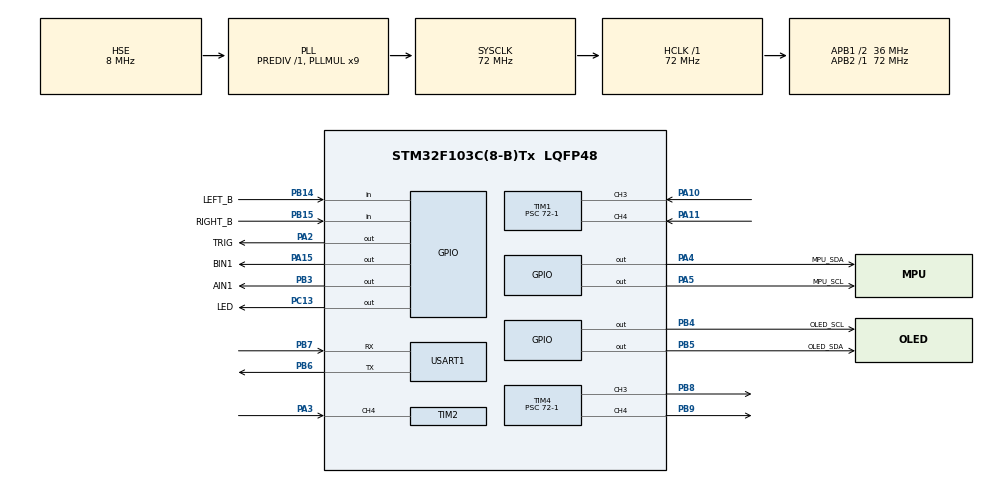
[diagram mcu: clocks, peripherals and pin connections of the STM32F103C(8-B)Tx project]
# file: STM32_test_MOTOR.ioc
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Dma.Request0=USART1_RX
Dma.USART1_RX.0.Direction=DMA_PERIPH_TO_MEMORY
Dma.USART1_RX.0.Instance=DMA1_Channel5
Dma.USART1_RX.0.MemDataAlignment=DMA_MDATAALIGN_BYTE
Dma.USART1_RX.0.MemInc=DMA_MINC_ENABLE
Dma.USART1_RX.0.Mode=DMA_NORMAL
Dma.USART1_RX.0.PeriphDataAlignment=DMA_PDATAALIGN_BYTE
Dma.USART1_RX.0.PeriphInc=DMA_PINC_DISABLE
Dma.USART1_RX.0.Priority=DMA_PRIORITY_MEDIUM
Mcu.Family=STM32F1
Mcu.Name=STM32F103C(8-B)Tx
Mcu.Package=LQFP48
NVIC.DMA1_Channel5_IRQn=true\:0\:0\:false\:false\:true\:false\:true\:true
NVIC.PriorityGroup=NVIC_PRIORITYGROUP_2
NVIC.TIM1_CC_IRQn=true\:0\:0\:false\:false\:true\:true\:true\:true
NVIC.TIM1_UP_IRQn=true\:1\:0\:true\:false\:true\:true\:true\:true
NVIC.USART1_IRQn=true\:0\:0\:false\:false\:true\:true\:true\:true
PA10.Signal=S_TIM1_CH3
PA11.Signal=S_TIM1_CH4
PA13.Mode=Serial_Wire
PA13.Signal=SYS_JTMS-SWDIO
PA14.Mode=Serial_Wire
PA14.Signal=SYS_JTCK-SWCLK
PA15.GPIO_Label=BIN1
PA15.GPIO_Speed=GPIO_SPEED_FREQ_MEDIUM
PA15.Signal=GPIO_Output
PA2.GPIO_Label=TRIG
PA2.GPIO_Speed=GPIO_SPEED_FREQ_MEDIUM
PA2.Signal=GPIO_Output
PA3.Signal=S_TIM2_CH4
PA4.GPIO_Label=MPU_SDA
PA4.GPIO_ModeDefaultOutputPP=GPIO_MODE_OUTPUT_OD
PA4.GPIO_PuPd=GPIO_PULLUP
PA4.GPIO_Speed=GPIO_SPEED_FREQ_MEDIUM
PA4.Signal=GPIO_Output
PA5.GPIO_Label=MPU_SCL
PA5.GPIO_ModeDefaultOutputPP=GPIO_MODE_OUTPUT_OD
PA5.GPIO_PuPd=GPIO_PULLUP
PA5.GPIO_Speed=GPIO_SPEED_FREQ_MEDIUM
PA5.Signal=GPIO_Output
PB14.GPIO_Label=LEFT_B
PB14.Signal=GPIO_Input
PB15.GPIO_Label=RIGHT_B
PB15.Signal=GPIO_Input
PB3.GPIO_Label=AIN1
PB3.GPIO_Speed=GPIO_SPEED_FREQ_MEDIUM
PB3.Signal=GPIO_Output
PB4.GPIO_Label=OLED_SCL
PB4.GPIO_ModeDefaultOutputPP=GPIO_MODE_OUTPUT_OD
PB4.GPIO_PuPd=GPIO_PULLUP
PB4.GPIO_Speed=GPIO_SPEED_FREQ_MEDIUM
PB4.Signal=GPIO_Output
PB5.GPIO_Label=OLED_SDA
PB5.GPIO_ModeDefaultOutputPP=GPIO_MODE_OUTPUT_OD
PB5.GPIO_PuPd=GPIO_PULLUP
PB5.GPIO_Speed=GPIO_SPEED_FREQ_MEDIUM
PB5.Signal=GPIO_Output
PB6.Mode=Asynchronous
PB6.Signal=USART1_TX
PB7.Mode=Asynchronous
PB7.Signal=USART1_RX
PB8.Signal=S_TIM4_CH3
PB9.GPIO_Speed=GPIO_SPEED_FREQ_MEDIUM
PB9.Signal=S_TIM4_CH4
PC13-TAMPER-RTC.GPIO_Label=LED
PC13-TAMPER-RTC.GPIO_Speed=GPIO_SPEED_FREQ_MEDIUM
PC13-TAMPER-RTC.PinState=GPIO_PIN_SET
PC13-TAMPER-RTC.Signal=GPIO_Output
PD0-OSC_IN.Mode=HSE-External-Oscillator
PD0-OSC_IN.Signal=RCC_OSC_IN
PD1-OSC_OUT.Mode=HSE-External-Oscillator
PD1-OSC_OUT.Signal=RCC_OSC_OUT
ProjectManager.HeapSize=0x200
ProjectManager.StackSize=0x400
ProjectManager.TargetToolchain=MDK-ARM V5.27
RCC.AHBFreq_Value=72000000
RCC.APB1CLKDivider=RCC_HCLK_DIV2
RCC.APB1Freq_Value=36000000
RCC.APB1TimFreq_Value=72000000
RCC.APB2Freq_Value=72000000
RCC.APB2TimFreq_Value=72000000
RCC.HCLKFreq_Value=72000000
RCC.PLLMUL=RCC_PLL_MUL9
RCC.PLLSourceVirtual=RCC_PLLSOURCE_HSE
RCC.SYSCLKFreq_VALUE=72000000
RCC.SYSCLKSource=RCC_SYSCLKSOURCE_PLLCLK
RCC.USBFreq_Value=72000000
SH.S_TIM1_CH3.0=TIM1_CH3,Input_Capture3_from_TI3
SH.S_TIM1_CH4.0=TIM1_CH4,Input_Capture4_from_TI4
SH.S_TIM2_CH4.0=TIM2_CH4,Input_Capture4_from_TI4
SH.S_TIM4_CH3.0=TIM4_CH3,PWM Generation3 CH3
SH.S_TIM4_CH4.0=TIM4_CH4,PWM Generation4 CH4
TIM1.Channel-Input_Capture3_from_TI3=TIM_CHANNEL_3
TIM1.Channel-Input_Capture4_from_TI4=TIM_CHANNEL_4
TIM1.Period=50000-1
TIM1.Prescaler=72-1
TIM2.Channel-Input_Capture4_from_TI4=TIM_CHANNEL_4
TIM4.Channel-PWM\ Generation3\ CH3=TIM_CHANNEL_3
TIM4.Channel-PWM\ Generation4\ CH4=TIM_CHANNEL_4
TIM4.Period=1000-1
TIM4.Prescaler=72-1
TIM4.Pulse-PWM\ Generation3\ CH3=0
TIM4.Pulse-PWM\ Generation4\ CH4=0
USART1.VirtualMode=VM_ASYNC
VP_TIM1_VS_ClockSourceINT.Mode=Internal
VP_TIM2_VS_ClockSourceINT.Mode=Internal
board=custom

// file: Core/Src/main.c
/* USER CODE BEGIN Header */
/**
  ******************************************************************************
  * @file           : main.c
  * @brief          : Main program body
  ******************************************************************************
  * @attention
  *
  * Copyright (c) 2022 STMicroelectronics.
  * All rights reserved.
  *
  * This software is licensed under terms that can be found in the LICENSE file
  * in the root directory of this software component.
  * If no LICENSE file comes with this software, it is provided AS-IS.
  *
  ******************************************************************************
  */
/* USER CODE END Header */
#include "main.h"
#include "dma.h"
#include "tim.h"
#include "usart.h"
#include "gpio.h"

/* USER CODE BEGIN Includes */
#include "Motor.h"
#include "PID.h"
#include "OLED_IIC.h"
#include "stdio.h"
#include "string.h"
#include "math.h"
#include "IIC.h"
#include "mpu6050.h"
#include "inv_mpu.h"
#include "inv_mpu_dmp_motion_driver.h"

#define Rx_MAX 255
#define PI 3.141592
#define MIDANGLE 4.00
#define AHEAD 'F'
#define LEFT  'L'
#define RIGHT 'R'
#define BACK  'B'

/* USER CODE END Includes */

/* USER CODE BEGIN PTD */
typedef struct
{
	float speed_left;
	float speed_right;
	float Roll;
	float Yaw;
}Motor_Struct;

Motor_Struct nowa_state;
Motor_Struct goal_state;

extern PID_SPEED PID_LeftWheel;  // 左轮速度环
extern PID_SPEED PID_RightWheel; // 右轮速度环
extern PID_BALANCE PID_Balance;

int count_left = 0,count_right = 0;      // 左右轮编码器计数值
float pos_left = 0.0,pos_right = 0;
float pitch,roll,yaw; 		    //欧拉角
extern unsigned char Rx_Buffer[Rx_MAX];  // 缓存区
extern int data_length;                  // 缓存区读取到的数据长度
extern char update_flag;                 // 更新标志位，在缓存区数据更新时有效

// 重定向函数，便于使用printf( )函数，注意需要勾选MicroLIB选项
int fputc(int ch, FILE *f)
{
  HAL_UART_Transmit(&huart1, (uint8_t *)&ch, 1, 0xffff);
  return ch;
}

// 定时器定时10ms，每10ms执行一次该函数，执行内容包括：
// 测速，PID闭环控制，并每秒钟显示一次速度
void HAL_TIM_PeriodElapsedCallback(TIM_HandleTypeDef *htim)
{
////	HAL_GPIO_TogglePin(LED_GPIO_Port,LED_Pin);
//	static int i = 0;
//	i++;
//	if(htim == &htim1)
//	{
////		mpu_dmp_get_data(&pitch, &roll, &yaw);
//
//		calculate_Balance(&PID_Balance,nowa_state.Roll,MIDANGLE);
//		MotorRun(LEFT_WHEEL, PID_Balance.output);
////		MotorRun(RIGHT_WHEEL,PID_Balance.output);
////		nowa_state.speed_left  = count_left /390.0/0.05 * PI * 6.7;  // 单位：（cm/s）
////		nowa_state.speed_right = count_right/390.0/0.05 * PI * 6.7;       // 单位：（cm/s）
//
////		calculate_Speed(&PID_LeftWheel ,nowa_state.speed_left, goal_state.speed_left);
////		calculate_Speed(&PID_RightWheel,nowa_state.speed_right,goal_state.speed_right);
////		MotorRun(LEFT_WHEEL,  PID_LeftWheel.Output_PWM);
////		MotorRun(RIGHT_WHEEL,PID_RightWheel.Output_PWM);
////		printf("left: now speed:%f orign set:%d now:%d\r\n",nowa_state.speed_left, \
////		                                                PID_LeftWheel.last_Set,\
////		                                                PID_LeftWheel.Output_PWM);
////		printf("right:now speed:%f orign set:%d now:%d\r\n",nowa_state.speed_right,\
////		                                                PID_RightWheel.last_Set,\
////		                                                PID_RightWheel.Output_PWM);
//		count_left  = 0;
//		count_right = 0;
//	}
//	// 每秒钟刷新一次左右轮的转速值
//	if(i == 100)
//	{
//		printf("roll:%f\r\n",nowa_state.Roll);
//
////		printf("speed_left:%f(cm/s) speed_right:%f(cm/s)\r\n",nowa_state.speed_left,nowa_state.speed_right);
//		i = 0;
//	}

}

void HAL_TIM_IC_CaptureCallback(TIM_HandleTypeDef *htim)
{
	if(htim == &htim1)
	{
		if(htim -> Channel == HAL_TIM_ACTIVE_CHANNEL_3)  // TIM1 - Channel3 左轮编码器
		{
			GPIO_PinState judge_left = HAL_GPIO_ReadPin(LEFT_B_GPIO_Port,LEFT_B_Pin);
			switch(judge_left)
			{
				case GPIO_PIN_SET:  // 左轮反转
					count_left--;
				break;

				case GPIO_PIN_RESET:  // 左轮正转
					count_left++;
				break;
			}
		}
		if(htim -> Channel == HAL_TIM_ACTIVE_CHANNEL_4)  // TIM1 - Channel4 右轮编码器
		{
			GPIO_PinState judge_right = HAL_GPIO_ReadPin(RIGHT_B_GPIO_Port,RIGHT_B_Pin);
			switch(judge_right)
			{
				case GPIO_PIN_SET:  // 右轮正转
					count_right++;
				break;

				case GPIO_PIN_RESET:  // 右轮反转
					count_right--;
				break;
			}
		}
	}
}
/**
  * @brief  OLED显示函数，显示左右轮转速值以及X Y Z三轴角度姿态
  * @retval None
  */
void DisplaySign()
{
	OLED_ShowString(1,1,"L:");
	OLED_ShowFloatNum(1,3,nowa_state.speed_left);

	OLED_ShowString(2,1,"R:");
	OLED_ShowFloatNum(2,3,nowa_state.speed_right);

	OLED_ShowString(3,1,"X:");
	OLED_ShowString(3,9,"Y:");
	OLED_ShowString(4,1,"Z:");
}
/**
  * @brief  数据处理函数，将串口接收到的数据流分类管理，对相应参数进行赋值
  * @param  *data: 接收区数组缓存
  * @param  length:接收区有效数据长度
  * @retval None
  */
void HandleData(uint8_t *data,int length)
{
	if(data[0] == 'P')
	{
		if(data[1] == '+')
			PID_Balance.kp += 5;
		else if(data[1] == '-')
			PID_Balance.kp -= 5;
		printf("Kp -> %f\r\n",PID_Balance.kp);
		memset(Rx_Buffer,0,sizeof(Rx_Buffer));
	}
	else if(data[0] == 'D')
	{
		if(data[1] == '+')
			PID_Balance.kd += 2.0;
		else if(data[1] == '-')
			PID_Balance.kd -= 2.0;
		printf("Kd -> %f\r\n",PID_Balance.kd);
		memset(Rx_Buffer,0,sizeof(Rx_Buffer));
	}

	int speed_set = 0;
	/*
	速度数据：[-120，120]，单位 (cm/s)
	*/
	// 判断数据是否为速度指令 [-120,120]
	// 是否为负数
	if(data[0] == '-' && length <= 4 && length > 0)
	{
		speed_set = 0;
		for(int i = 1;i < length;i++)
			speed_set = speed_set * 10 + data[i] - '0';
		speed_set = -speed_set;
		goal_state.speed_left  = speed_set;
		goal_state.speed_right = speed_set;
		memset(Rx_Buffer,0,sizeof(Rx_Buffer));  // 在设置完参数之后清空缓存区，避免数据覆盖
	}
	// 是否为正数
	else if(data[0] >= '0' && data[0] <= '9' && length <= 3 && length > 0)
	{
		speed_set = 0;
		for(int i = 0;i < length;i++)
			speed_set = speed_set * 10 + data[i] - '0';
		goal_state.speed_left  = speed_set;
		goal_state.speed_right = speed_set;
		memset(Rx_Buffer,0,sizeof(Rx_Buffer));
	}
	// 判断是否为方向指令
	else if(data[0] >= 'A' && data[0] <= 'Z' && length == 1)
	{
		switch(data[0])
		{
			case AHEAD:
			case LEFT:
			case RIGHT:
			case BACK:
				break;
			default:
				printf("Error Char message\r\n");
				break;
		}
		memset(Rx_Buffer,0,sizeof(Rx_Buffer));
	}
	if(update_flag == 1)
	{
		printf("speed_set:%d\r\n",speed_set);
		update_flag = 0;
	}
}
#ifdef RxIT
void HAL_UART_RxCpltCallback(UART_HandleTypeDef *huart)
{
	if(huart->Instance == USART3)   //判断发生接收中断的串口
	{
		int PWM = 0;
		if((Rx_Buffer[1] - '0') > 1)
			Rx_Buffer[1] = '1';

		if(Rx_Buffer[0] == '+')
			PWM = 1000 * (Rx_Buffer[1] - '0') + 100 * (Rx_Buffer[2] - '0') + 10 * (Rx_Buffer[3] - '0') + (Rx_Buffer[4] - '0');
		else if(Rx_Buffer[0] == '-')
		{
			PWM = 1000 * (Rx_Buffer[1] - '0') + 100 * (Rx_Buffer[2] - '0') + 10 * (Rx_Buffer[3] - '0') + (Rx_Buffer[4] - '0');
			PWM = -PWM;
		}
		else
			PWM = 0;
		MotorRun(LEFT_WHEEL, PWM);
		MotorRun(RIGHT_WHEEL,PWM);
		printf("received -> %s\r\n",Rx_Buffer);
		printf("has setted the PWM:%d\r\n",PWM);
	}
	HAL_UART_Receive_IT(&huart3, (uint8_t *)Rx_Buffer,5);
}
#endif
/**
  * @brief  开启输入捕获，用于捕获固定时间内正交编码器上升沿次数
  * @retval None
  */
void Start_InputCapture()
{
	HAL_TIM_Base_Start_IT(&htim1);	//打开定时器中断
    HAL_TIM_IC_Start_IT(&htim1,TIM_CHANNEL_3);  //打开输入捕获
    HAL_TIM_IC_Start_IT(&htim1,TIM_CHANNEL_4);  //打开输入捕获
}
/* USER CODE END PTD */

void SystemClock_Config(void);

int main(void)
{
  /* USER CODE BEGIN 1 */
//    short aacx,aacy,aacz;			//加速度传感器原始数据
//    short gyrox,gyroy,gyroz;		//陀螺仪原始数据
//  float temp;					    //温度
  /* USER CODE END 1 */

  /* MCU Configuration--------------------------------------------------------*/

  /* Reset of all peripherals, Initializes the Flash interface and the Systick. */
  HAL_Init();

  /* Configure the system clock */
  SystemClock_Config();

  /* Initialize all configured peripherals */
  MX_GPIO_Init();
  MX_DMA_Init();
  MX_TIM4_Init();
  MX_TIM1_Init();
  MX_TIM2_Init();
  MX_USART1_UART_Init();
  /* USER CODE BEGIN 2 */
	// 开启左右轮编码器的输入捕获
	Start_InputCapture();
	printf("1111111111\r\n");
    Motor_Init();  // 电机初始化，速度置零
	printf("2222222222\r\n");
//	OLED_Init();   //  OLED屏幕初始化
	printf("3333333333\r\n");
	PID_Init();
	printf("4444444444\r\n");
	MPU_Init();			//MPU6050初始化
	printf("5555555555\r\n");
    mpu_dmp_init();		//dmp初始化
	printf("6666666666\r\n");
	OLED_ShowString(2,4,"Succeed!");
	OLED_Refresh();
	HAL_Delay(100);
  /* USER CODE END 2 */

  /* Infinite loop */
  /* USER CODE BEGIN WHILE */
  printf("3333333333\r\n");
  while (1)
  {
    /* USER CODE END WHILE */

    /* USER CODE BEGIN 3 */
	  HAL_GPIO_TogglePin(LED_GPIO_Port,LED_Pin);
	  printf("HelloWorld\r\n");
	  HAL_Delay(1000);
  }
  /* USER CODE END 3 */
}

void SystemClock_Config(void)
{
  RCC_OscInitTypeDef RCC_OscInitStruct = {0};
  RCC_ClkInitTypeDef RCC_ClkInitStruct = {0};

  /** Initializes the RCC Oscillators according to the specified parameters
  * in the RCC_OscInitTypeDef structure.
  */
  RCC_OscInitStruct.OscillatorType = RCC_OSCILLATORTYPE_HSE;
  RCC_OscInitStruct.HSEState = RCC_HSE_ON;
  RCC_OscInitStruct.HSEPredivValue = RCC_HSE_PREDIV_DIV1;
  RCC_OscInitStruct.HSIState = RCC_HSI_ON;
  RCC_OscInitStruct.PLL.PLLState = RCC_PLL_ON;
  RCC_OscInitStruct.PLL.PLLSource = RCC_PLLSOURCE_HSE;
  RCC_OscInitStruct.PLL.PLLMUL = RCC_PLL_MUL9;
  if (HAL_RCC_OscConfig(&RCC_OscInitStruct) != HAL_OK)
  {
    Error_Handler();
  }

  /** Initializes the CPU, AHB and APB buses clocks
  */
  RCC_ClkInitStruct.ClockType = RCC_CLOCKTYPE_HCLK|RCC_CLOCKTYPE_SYSCLK
                              |RCC_CLOCKTYPE_PCLK1|RCC_CLOCKTYPE_PCLK2;
  RCC_ClkInitStruct.SYSCLKSource = RCC_SYSCLKSOURCE_PLLCLK;
  RCC_ClkInitStruct.AHBCLKDivider = RCC_SYSCLK_DIV1;
  RCC_ClkInitStruct.APB1CLKDivider = RCC_HCLK_DIV2;
  RCC_ClkInitStruct.APB2CLKDivider = RCC_HCLK_DIV1;

  if (HAL_RCC_ClockConfig(&RCC_ClkInitStruct, FLASH_LATENCY_2) != HAL_OK)
  {
    Error_Handler();
  }
}

void Error_Handler(void)
{
  __disable_irq();
  while (1)
  {
  }
}
